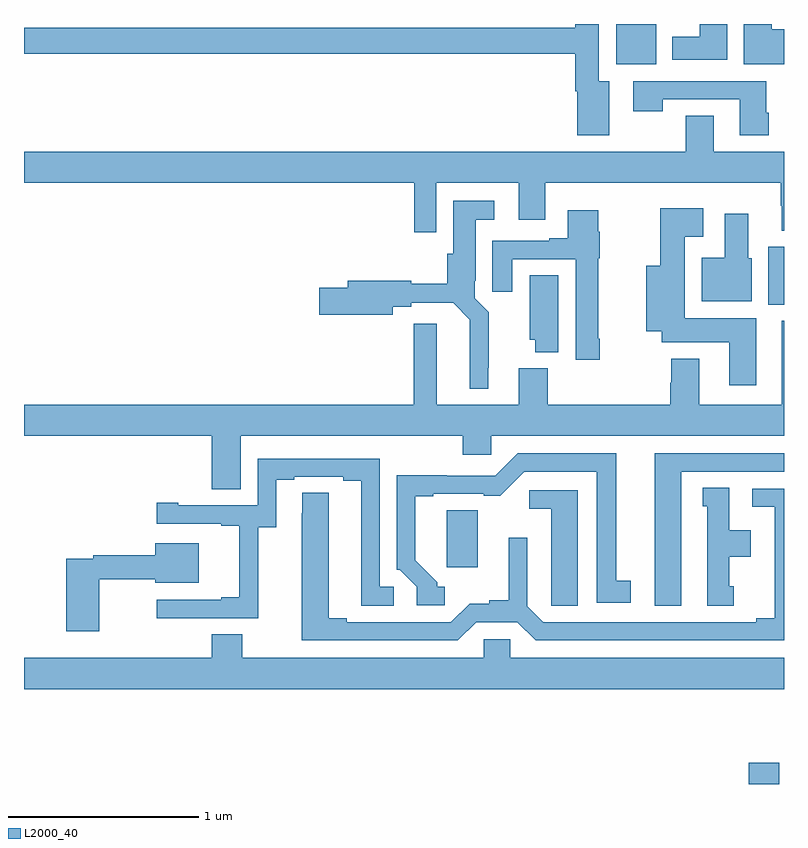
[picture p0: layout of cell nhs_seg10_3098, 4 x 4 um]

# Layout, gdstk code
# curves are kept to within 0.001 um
import gdstk
lib = gdstk.Library(unit=1e-6, precision=1e-09)
def R(c, l, rs):  # rectangles x0, y0, x1, y1
    for r in rs: c.add(gdstk.rectangle(r[:2], r[2:], *l))
def P(c, l, *ps):  # polygons
    for p in ps: c.add(gdstk.Polygon(p, *l))
L2000_40 = (2000, 40)

nhs_seg10_3098 = lib.new_cell('nhs_seg10_3098')
R(nhs_seg10_3098, L2000_40, [(282.815,1282.5,282.975,1282.612), (282.917,1285.022,283,1285.327), (282.116,1286.288,282.328,1286.5)])
P(nhs_seg10_3098, L2000_40, [(283,1286.473),(282.935,1286.473),(282.935,1286.5),(282.788,1286.5),(282.788,1286.288),(283,1286.288)],
  [(282.079,1286.2),(282.025,1286.2),(282.025,1286.5),(281.9,1286.5),(281.9,1286.48),(279,1286.48),(279,1286.344),(281.9,1286.344),(281.9,1286.147),(281.912,1286.147),(281.912,1285.914),(282.079,1285.914)],
  [(282.7,1286.5),(282.557,1286.5),(282.557,1286.434),(282.413,1286.434),(282.413,1286.312),(282.7,1286.312)],
  [(282.92,1286.033),(282.907,1286.033),(282.907,1286.199),(282.207,1286.199),(282.207,1286.04),(282.363,1286.04),(282.363,1286.103),(282.767,1286.103),(282.767,1285.914),(282.92,1285.914)],
  [(281.169,1285.664),(281.603,1285.664),(281.603,1285.47),(281.743,1285.47),(281.743,1285.664),(282.982,1285.664),(282.982,1285.544),(282.989,1285.544),(282.989,1285.412),(283,1285.412),(283,1285.828),(282.631,1285.828),(282.631,1286.018),(282.484,1286.018),(282.484,1285.828),(279,1285.828),(279,1285.664),(281.053,1285.664),(281.053,1285.404),(281.169,1285.404)],
  [(281.443,1284.691),(281.447,1284.691),(281.447,1284.982),(281.373,1285.056),(281.373,1285.15),(281.377,1285.15),(281.377,1285.469),(281.476,1285.469),(281.476,1285.57),(281.258,1285.57),(281.258,1285.29),(281.228,1285.29),(281.228,1285.133),(281.038,1285.133),(281.038,1285.148),(280.703,1285.148),(280.703,1285.112),(280.554,1285.112),(280.554,1284.97),(280.942,1284.97),(280.942,1285.012),(281.038,1285.012),(281.038,1285.032),(281.258,1285.032),(281.346,1284.944),(281.345,1284.581),(281.443,1284.581)],
  [(282.853,1284.952),(282.478,1284.952),(282.478,1285.379),(282.574,1285.379),(282.574,1285.531),(282.349,1285.531),(282.349,1285.228),(282.275,1285.228),(282.275,1284.884),(282.356,1284.884),(282.356,1284.824),(282.713,1284.824),(282.713,1284.6),(282.853,1284.6)],
  [(282.03,1284.844),(282.022,1284.844),(282.022,1285.266),(282.03,1285.266),(282.03,1285.406),(282.022,1285.406),(282.022,1285.519),(281.861,1285.519),(281.861,1285.372),(281.765,1285.372),(281.765,1285.359),(281.465,1285.359),(281.465,1285.092),(281.569,1285.092),(281.569,1285.263),(281.903,1285.263),(281.903,1284.732),(282.03,1284.732)],
  [(282.829,1285.266),(282.811,1285.266),(282.811,1285.501),(282.689,1285.501),(282.689,1285.27),(282.566,1285.27),(282.566,1285.04),(282.829,1285.04)],
  [(281.812,1285.178),(281.663,1285.178),(281.663,1284.837),(281.69,1284.837),(281.69,1284.773),(281.812,1284.773)],
  [(280.141,1284.332),(281.309,1284.332),(281.309,1284.234),(281.46,1284.234),(281.46,1284.332),(283,1284.332),(283,1284.937),(282.989,1284.937),(282.989,1284.496),(282.553,1284.496),(282.553,1284.739),(282.406,1284.739),(282.406,1284.612),(282.401,1284.612),(282.401,1284.496),(281.756,1284.496),(281.756,1284.688),(281.603,1284.688),(281.603,1284.496),(281.173,1284.496),(281.173,1284.922),(281.051,1284.922),(281.051,1284.496),(279,1284.496),(279,1284.332),(279.989,1284.332),(279.989,1284.052),(280.141,1284.052)],
  [(281.215,1283.538),(281.176,1283.538),(281.176,1283.562),(281.059,1283.678),(281.059,1284.015),(281.155,1284.015),(281.155,1284.027),(281.42,1284.027),(281.42,1284.016),(281.506,1284.016),(281.634,1284.144),(282.014,1284.144),(282.014,1283.454),(282.193,1283.454),(282.193,1283.57),(282.118,1283.57),(282.118,1284.24),(281.598,1284.24),(281.481,1284.123),(281.225,1284.123),(281.225,1284.125),(280.962,1284.125),(280.962,1283.628),(280.977,1283.628),(281.067,1283.538),(281.067,1283.442),(281.215,1283.442)],
  [(282.46,1284.144),(283,1284.144),(283,1284.24),(282.32,1284.24),(282.32,1283.439),(282.46,1283.439)],
  [(280.233,1283.851),(280.327,1283.851),(280.327,1284.102),(280.423,1284.102),(280.423,1284.117),(280.679,1284.117),(280.679,1284.097),(280.775,1284.097),(280.775,1283.437),(280.945,1283.437),(280.945,1283.538),(280.872,1283.538),(280.872,1284.213),(280.23,1284.213),(280.23,1283.967),(279.811,1283.967),(279.811,1283.98),(279.699,1283.98),(279.699,1283.871),(280.037,1283.871),(280.037,1283.859),(280.133,1283.859),(280.133,1283.482),(280.037,1283.482),(280.037,1283.469),(279.699,1283.469),(279.699,1283.373),(280.233,1283.373)],
  [(282.736,1283.541),(282.712,1283.541),(282.712,1283.696),(282.826,1283.696),(282.826,1283.836),(282.712,1283.836),(282.712,1284.059),(282.572,1284.059),(282.572,1283.961),(282.596,1283.961),(282.596,1283.439),(282.736,1283.439)],
  [(281.379,1283.352),(281.597,1283.352),(281.693,1283.256),(283,1283.256),(283,1284.054),(282.834,1284.054),(282.834,1283.958),(282.95,1283.958),(282.95,1283.372),(282.854,1283.372),(282.854,1283.352),(281.733,1283.352),(281.649,1283.436),(281.649,1283.797),(281.552,1283.797),(281.552,1283.468),(281.448,1283.468),(281.448,1283.45),(281.345,1283.45),(281.247,1283.352),(280.699,1283.352),(280.699,1283.372),(280.603,1283.372),(280.603,1284.032),(280.464,1284.032),(280.463,1283.256),(281.283,1283.256)],
  [(281.914,1284.045),(281.658,1284.045),(281.658,1283.948),(281.774,1283.948),(281.774,1283.545),(281.775,1283.545),(281.775,1283.437),(281.914,1283.437)],
  [(281.389,1283.784),(281.388,1283.784),(281.388,1283.942),(281.225,1283.942),(281.225,1283.64),(281.389,1283.64)],
  [(279.396,1283.577),(279.692,1283.577),(279.692,1283.558),(279.919,1283.558),(279.919,1283.767),(279.692,1283.767),(279.692,1283.705),(279.364,1283.705),(279.364,1283.685),(279.223,1283.685),(279.223,1283.304),(279.396,1283.304)],
  [(283,1283.164),(281.559,1283.164),(281.559,1283.262),(281.421,1283.262),(281.421,1283.164),(280.149,1283.164),(280.149,1283.288),(279.989,1283.288),(279.989,1283.164),(279,1283.164),(279,1283),(283,1283)])

lib.write_gds('nhs_seg10_3098.gds')
